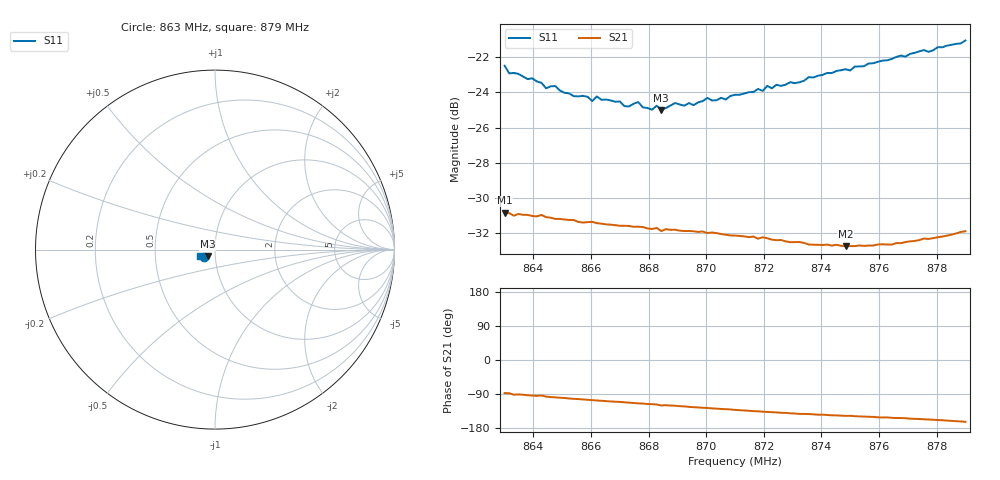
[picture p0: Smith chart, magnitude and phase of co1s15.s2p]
# HZ S RI R 50
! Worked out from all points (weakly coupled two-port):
!   101 points, 863 MHz to 879 MHz, reference 50 ohm
!   highest |S21| = -30.83 dB at 863 MHz (marker M1); lowest = -32.7 dB at 874.84 MHz (marker M2)
!   lowest |S11| = -25.0 dB at 868.44 MHz (marker M3), VSWR 1.12, Z = 45.9 - j3.5 ohm
!   |S11| at or under -10 dB: start of sweep to end of sweep
!   S12 and S22 are empty: the file has one direction only
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8.63e8  -0.063 -0.0408  0.00133 -0.0287  0 0  0 0
8.6316e8  -0.0589 -0.0405  0.00117 -0.0286  0 0  0 0
8.6396e8  -0.058 -0.0376  -0.0019 -0.0281  0 0  0 0
8.6444e8  -0.0539 -0.036  -0.0032 -0.0277  0 0  0 0
8.6476e8  -0.0546 -0.0367  -0.00416 -0.0273  0 0  0 0
8.654e8  -0.0504 -0.0354  -0.00589 -0.0268  0 0  0 0
8.6572e8  -0.0494 -0.037  -0.00653 -0.0262  0 0  0 0
8.67e8  -0.0492 -0.0334  -0.00926 -0.0247  0 0  0 0
8.6716e8  -0.045 -0.036  -0.00971 -0.0245  0 0  0 0
8.6764e8  -0.0451 -0.0384  -0.0108 -0.0239  0 0  0 0
8.678e8  -0.0441 -0.0364  -0.011 -0.0237  0 0  0 0
8.6828e8  -0.0439 -0.0377  -0.012 -0.0231  0 0  0 0
8.6844e8  -0.0415 -0.038  -0.0128 -0.0221  0 0  0 0
8.6892e8  -0.0436 -0.0396  -0.0131 -0.0221  0 0  0 0
8.6956e8  -0.0428 -0.0392  -0.0144 -0.021  0 0  0 0
8.7004e8  -0.0436 -0.0425  -0.015 -0.0202  0 0  0 0
8.7068e8  -0.0433 -0.0418  -0.0159 -0.0191  0 0  0 0
8.71e8  -0.0447 -0.0432  -0.0165 -0.0185  0 0  0 0
8.7372e8  -0.0515 -0.0467  -0.0187 -0.0139  0 0  0 0
8.7484e8  -0.0566 -0.0466  -0.0195 -0.0124  0 0  0 0
8.7644e8  -0.0649 -0.044  -0.0207 -0.0107  0 0  0 0
8.79e8  -0.0808 -0.0361  -0.0244 -0.00742  0 0  0 0
